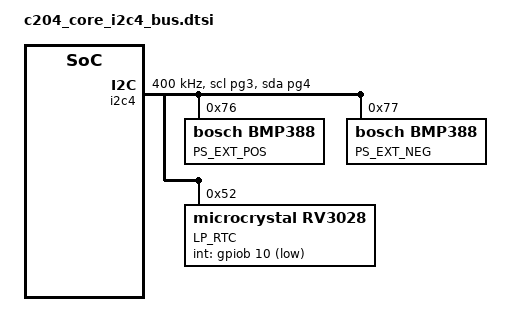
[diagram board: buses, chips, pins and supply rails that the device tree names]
/*
 * Copyright (c) 2022 Acme CPU
 *
 * C204 I2C4 bus has
 *	- S202 PCB (2 x bmp388)
 *	- RV3028
 */


&i2c4 {
	status = "okay";
	pinctrl-0 = <&i2c4_scl_pg3 &i2c4_sda_pg4>;
	pinctrl-names = "default";
	clock-frequency = <I2C_BITRATE_FAST>;
/*
  compatible = "st,stm32-i2c-dma-v2";
  dmas = <&dma1 0 0 0x0 0x0>,
	 <&dma1 0 0 0x0 0x0>;
  dma-names = "tx","rx";
  dma-label-tx = "DMA_TX_I2C_3";
  dma-label-rx = "DMA_RX_I2C_3";
*/

	p121_ps_ext: bmp388@76 {
    	compatible = "bosch,bmp388";
    	reg = <0x76>;
    	label = "PS_EXT_POS";
    	odr = "25";			/* data rate = 25Hz */
   		osr-press = <1>;	/* pressure oversampling = No */
    	osr-temp = <1>;		/* temperature oversampling = No */
    	iir-filter = <0>;	/* iir filter = default val */
	};

	p122_ps_ext: bmp388@77 {
    	compatible = "bosch,bmp388";
    	reg = <0x77>;
    	label = "PS_EXT_NEG";
    	odr = "25";			/* data rate = 25Hz */
    	osr-press = <1>;	/* pressure oversampling = No */
    	osr-temp = <1>;		/* temperature oversampling = No */
    	iir-filter = <0>;	/* iir filter = default val */
	};

  	p26_rtc: rv3028@52 {
    	compatible = "microcrystal,rv3028";
    	reg = <0x52>;
    	int-gpios = <&gpiob 10 (GPIO_PULL_UP | GPIO_ACTIVE_LOW)>;
    	trickle-resistor-ohms = <3000>;
    	label = "LP_RTC";
  	};
};
